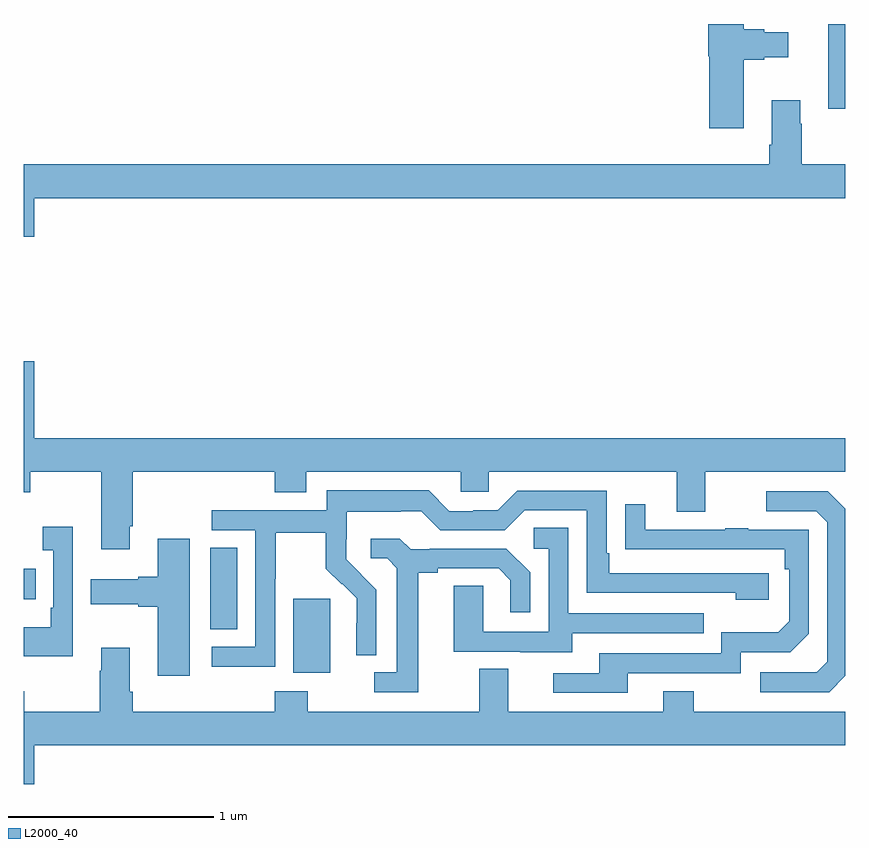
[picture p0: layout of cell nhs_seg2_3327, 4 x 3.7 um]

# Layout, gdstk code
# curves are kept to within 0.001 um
import gdstk
lib = gdstk.Library(unit=1e-6, precision=1e-09)
def R(c, l, rs):  # rectangles x0, y0, x1, y1
    for r in rs: c.add(gdstk.rectangle(r[:2], r[2:], *l))
def P(c, l, *ps):  # polygons
    for p in ps: c.add(gdstk.Polygon(p, *l))
L2000_40 = (2000, 40)

nhs_seg2_3327 = lib.new_cell('nhs_seg2_3327')
R(nhs_seg2_3327, L2000_40, [(286.313,662.642,286.492,663.003), (285.908,662.854,286.039,663.251), (285,662.999,285.059,663.147), (288.917,665.387,289,665.8)])
P(nhs_seg2_3327, L2000_40, [(288.505,665.627),(288.605,665.627),(288.605,665.639),(288.721,665.639),(288.721,665.761),(288.605,665.761),(288.605,665.774),(288.505,665.774),(288.505,665.8),(288.332,665.8),(288.332,665.643),(288.338,665.643),(288.338,665.292),(288.505,665.292)],
  [(285.052,664.952),(289,664.952),(289,665.116),(288.789,665.116),(288.789,665.315),(288.781,665.315),(288.781,665.428),(288.641,665.428),(288.641,665.212),(288.629,665.212),(288.629,665.116),(285,665.116),(285,664.764),(285.052,664.764)],
  [(285.517,663.355),(285.53,663.355),(285.53,663.62),(286.223,663.62),(286.223,663.521),(286.375,663.521),(286.375,663.62),(287.127,663.62),(287.127,663.522),(287.265,663.522),(287.265,663.62),(288.179,663.62),(288.179,663.426),(288.319,663.426),(288.319,663.62),(289,663.62),(289,663.784),(285.052,663.784),(285.052,664.159),(285,664.159),(285,663.521),(285.033,663.521),(285.033,663.62),(285.377,663.62),(285.377,663.243),(285.517,663.243)],
  [(286.224,663.1),(286.227,663.1),(286.227,663.324),(286.471,663.324),(286.471,663.149),(286.548,663.072),(286.551,663.075),(286.622,663.005),(286.622,662.882),(286.62,662.882),(286.62,662.728),(286.716,662.728),(286.716,663.046),(286.57,663.194),(286.57,663.291),(286.572,663.291),(286.572,663.425),(286.835,663.425),(286.835,663.429),(286.935,663.429),(287.028,663.336),(287.343,663.336),(287.439,663.432),(287.742,663.432),(287.742,663.03),(288.467,663.03),(288.467,662.996),(288.628,662.996),(288.628,663.126),(287.851,663.126),(287.851,663.223),(287.838,663.223),(287.838,663.528),(287.403,663.528),(287.307,663.432),(287.189,663.432),(287.189,663.429),(287.073,663.429),(286.973,663.529),(286.476,663.529),(286.476,663.432),(285.915,663.432),(285.915,663.336),(286.128,663.336),(286.128,662.769),(285.915,662.769),(285.915,662.671),(286.224,662.671)],
  [(289,662.626),(289,663.44),(288.915,663.525),(288.615,663.525),(288.615,663.429),(288.858,663.429),(288.912,663.375),(288.912,662.694),(288.861,662.643),(288.585,662.643),(288.585,662.547),(288.921,662.547)],
  [(287.941,662.64),(288.492,662.64),(288.492,662.742),(288.732,662.742),(288.822,662.832),(288.822,663.339),(288.527,663.339),(288.527,663.344),(288.415,663.344),(288.415,663.339),(288.025,663.339),(288.025,663.463),(287.929,663.463),(287.929,663.244),(288.706,663.243),(288.706,663.146),(288.726,663.146),(288.726,662.892),(288.673,662.839),(288.396,662.839),(288.396,662.736),(287.801,662.736),(287.801,662.64),(287.577,662.64),(287.577,662.544),(287.941,662.544)],
  [(285.24,663.352),(285.093,663.352),(285.093,663.239),(285.144,663.239),(285.144,662.959),(285.132,662.959),(285.132,662.863),(285,662.863),(285,662.723),(285.24,662.723)],
  [(287.671,662.835),(288.311,662.835),(288.311,662.931),(287.652,662.931),(287.652,663.347),(287.484,663.347),(287.484,663.246),(287.556,663.246),(287.556,662.841),(287.238,662.841),(287.238,663.065),(287.093,663.065),(287.093,662.745),(287.417,662.745),(287.417,662.741),(287.671,662.741)],
  [(286.921,663.128),(287.017,663.128),(287.017,663.15),(287.312,663.15),(287.369,663.093),(287.369,662.937),(287.466,662.937),(287.466,663.13),(287.35,663.246),(286.978,663.246),(286.978,663.243),(286.884,663.243),(286.832,663.295),(286.689,663.295),(286.689,663.198),(286.77,663.198),(286.817,663.151),(286.817,662.643),(286.707,662.643),(286.707,662.547),(286.921,662.547)],
  [(285.808,663.295),(285.653,663.295),(285.653,663.11),(285.557,663.11),(285.557,663.097),(285.327,663.097),(285.327,662.975),(285.557,662.975),(285.557,662.963),(285.653,662.963),(285.653,662.628),(285.808,662.628)],
  [(285.052,662.288),(289,662.288),(289,662.452),(288.261,662.452),(288.261,662.551),(288.113,662.551),(288.113,662.452),(287.359,662.452),(287.359,662.66),(287.219,662.66),(287.219,662.452),(286.383,662.452),(286.383,662.551),(286.223,662.551),(286.223,662.452),(285.53,662.452),(285.53,662.548),(285.517,662.548),(285.517,662.764),(285.377,662.764),(285.377,662.651),(285.37,662.651),(285.37,662.452),(285.003,662.452),(285.003,662.551),(285,662.551),(285,662.1),(285.052,662.1)])

lib.write_gds('nhs_seg2_3327.gds')
